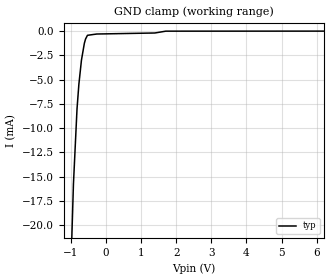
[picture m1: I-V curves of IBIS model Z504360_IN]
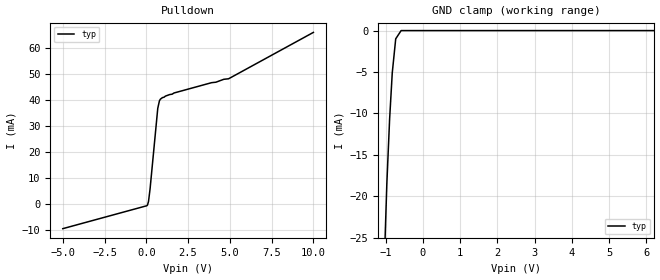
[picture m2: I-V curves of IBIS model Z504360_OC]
| YOU ARE ONLY AUTHORIZED TO USE THIS SOFTWARE
| ACCORDING TO LICENSOR'S LICENSE RESTRICTIONS.
[IBIS Ver] 3.1
[File Name] sn54ls05j.ibs
[File Rev] 2.0
[Source] Measured and created by ICX Technology
[Date] Friday 7/14/00 9:08:13 AM
[Copyright]
| (C) COPYRIGHT 1993-2000
| MENTOR GRAPHICS CORPORATION
| ICX STANDARD LIBRARY, ICX PROJECT MODELING,
| ICX CUSTOM MODELING, ICX VENDOR MODEL
| ALL RIGHTS RESERVED.
| THE FOLLOWING ARE TRADEMARKS OR SERVICE MARKS OF
| MENTOR GRAPHICS CORPORATION:ICX (R), ICX STANDARD
| LIBRARY(R), ICX PROJECT MODELING(R), ICX CUSTOM
| MODELING(R), qualityIBIS(TM), MODELVIEWER(TM),
| AND MODELEDITOR(TM)
| ALL COPIES OF SOFTWARE, INCLUDING BUT NOT LIMITED TO
| ANY MODIFICATIONS, ENHANCEMENTS OR DERIVATIVE WORKS,
| MUST CONTAIN ALL MENTOR GRAPHICS CORPORATION'S
| NOTICES AND LEGENDS, INCLUDING THOSE EMBEDDED IN
| SOFTWARE AND THOSE AFFIXED TO SOFTWARE MEDIUM
| AND CONTAINER, AS RECEIVED FROM MENTOR GRAPHICS
| CORPORATION.
|  ZAP Model Builder 2.7
[Component] SN54LS05J
[Manufacturer] OnSemiconductor
[Package]
| variable   typ   min   max
R_pkg  .21ohms NA NA
L_pkg  4.543nH NA NA
C_pkg  1.8pF NA NA
[Pin] signal_name  model_name  R_pin  L_pin C_pin
1 A Z504360_IN .22 6.757n 2.434p
2 Y Z504360_OC .212 4.757n 1.941p
3 A Z504360_IN .204 3.257n 1.448p
4 Y Z504360_OC .196 2.257n .955p
5 A Z504360_IN .204 3.257n 1.448p
6 Y Z504360_OC .212 4.757n 1.941p
7 GND GND .22 6.757n 2.434p
8 Y Z504360_OC .22 6.757n 2.434p
9 A Z504360_IN .212 4.757n 1.941p
10 Y Z504360_OC .204 3.257n 1.448p
11 A Z504360_IN .196 2.257n .955p
12 Y Z504360_OC .204 3.257n 1.448p
13 A Z504360_IN .212 4.757n 1.941p
14 VCC POWER .22 6.757n 2.434p
| Models and submodels in the file (2): Z504360_IN (Input), Z504360_OC (Open_sink)
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| (C) COPYRIGHT 1993-2000
| MENTOR GRAPHICS CORPORATION
| ICX STANDARD LIBRARY, ICX PROJECT MODELING,
| ICX CUSTOM MODELING, ICX VENDOR MODEL
| ALL RIGHTS RESERVED.
| THE FOLLOWING ARE TRADEMARKS OR SERVICE MARKS OF
| MENTOR GRAPHICS CORPORATION:ICX (R), ICX STANDARD
| LIBRARY(R), ICX PROJECT MODELING(R), ICX CUSTOM
| MODELING(R), qualityIBIS(TM), MODELVIEWER(TM),
| AND MODELEDITOR(TM)
| ALL COPIES OF SOFTWARE, INCLUDING BUT NOT LIMITED TO
| ANY MODIFICATIONS, ENHANCEMENTS OR DERIVATIVE WORKS,
| MUST CONTAIN ALL MENTOR GRAPHICS CORPORATION'S
| NOTICES AND LEGENDS, INCLUDING THOSE EMBEDDED IN
| SOFTWARE AND THOSE AFFIXED TO SOFTWARE MEDIUM
| AND CONTAINER, AS RECEIVED FROM MENTOR GRAPHICS
| CORPORATION.
| Model Application Version 1.89 2/18/99.
[Model] Z504360_IN
Model_type Input
Vinl = 800.0mV
Vinh = 2.000V
C_comp 4.000pF NA NA
| variable typ   min   max
[Voltage Range] 5.000V NA NA
[GND Clamp Reference] 0.000V NA NA
[POWER Clamp Reference] 5.000V NA NA
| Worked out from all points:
|   GND clamp passes 1 mA (typ) near -0.60 V on its own axis
[GND Clamp]
-5V       -501.6mA   NA         NA
-926.2mV  -15.78mA   NA         NA
-824.8mV  -8.047mA   NA         NA
-771.5mV  -5.485mA   NA         NA
-698.3mV  -3mA       NA         NA
-615.2mV  -1.252mA   NA         NA
-581mV    -816.2uA   NA         NA
-527.3mV  -434.4uA   NA         NA
-263.7mV  -301.1uA   NA         NA
1.39V     -195.9uA   NA         NA
1.704V    -6.266uA   NA         NA
10V       1.147uA    NA         NA
[POWER Clamp]
-5V       0A         NA         NA
10V       0A         NA         NA
| (C) COPYRIGHT 1993-2000
| MENTOR GRAPHICS CORPORATION
| ICX STANDARD LIBRARY, ICX PROJECT MODELING,
| ICX CUSTOM MODELING, ICX VENDOR MODEL
| ALL RIGHTS RESERVED.
| THE FOLLOWING ARE TRADEMARKS OR SERVICE MARKS OF
| MENTOR GRAPHICS CORPORATION:ICX (R), ICX STANDARD
| LIBRARY(R), ICX PROJECT MODELING(R), ICX CUSTOM
| MODELING(R), qualityIBIS(TM), MODELVIEWER(TM),
| AND MODELEDITOR(TM)
| ALL COPIES OF SOFTWARE, INCLUDING BUT NOT LIMITED TO
| ANY MODIFICATIONS, ENHANCEMENTS OR DERIVATIVE WORKS,
| MUST CONTAIN ALL MENTOR GRAPHICS CORPORATION'S
| NOTICES AND LEGENDS, INCLUDING THOSE EMBEDDED IN
| SOFTWARE AND THOSE AFFIXED TO SOFTWARE MEDIUM
| AND CONTAINER, AS RECEIVED FROM MENTOR GRAPHICS
| CORPORATION.
| Model Application Version 1.89 2/18/99.
[Model] Z504360_OC
Model_type Open_sink
Vref=5.000V
Rref=2.000kohms
Cref=15.00pF
Vmeas=1.300V
C_comp 8.000pF NA NA
| variable typ   min   max
[Voltage Range] 5.000V NA NA
[POWER Clamp Reference] 5.000V NA NA
[Pullup Reference] 5.000V NA NA
[Pulldown Reference] 0.000V NA NA
[GND Clamp Reference] 0.000V NA NA
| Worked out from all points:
|   slope of the pulldown table from 0 to 0.75 V, typ, clamps not added: 19.1 ohm
|   GND clamp passes 1 mA (typ) near -0.73 V on its own axis
[GND Clamp]
-5V       -863.3mA   NA         NA
-1.22V    -57.44mA   NA         NA
-1.104V   -37.9mA    NA         NA
-966.4mV  -18.57mA   NA         NA
-891.8mV  -10.73mA   NA         NA
-820.3mV  -5.103mA   NA         NA
-727.5mV  -993.7uA   NA         NA
-582mV    0A         NA         NA
10V       0A         NA         NA
[Pulldown]
-5V       -9.366mA   NA         NA
68.36mV   -335.7uA   NA         NA
131.2mV   1.073mA    NA         NA
223.8mV   5.864mA    NA         NA
684.7mV   36.77mA    NA         NA
784mV     39.65mA    NA         NA
841.7mV   40.28mA    NA         NA
1.143V    41.46mA    NA         NA
1.659V    42.66mA    NA         NA
4.639V    47.91mA    NA         NA
4.922V    48.1mA     NA         NA
10V       65.89mA    NA         NA
[POWER Clamp]
-5V       0A         NA         NA
10V       0A         NA         NA
[Ramp]
| variable typ min max
dV/dt_r 2.754/13.66n NA NA
dV/dt_f 2.754/4.834n NA NA
R_load = 250.0Ohms
